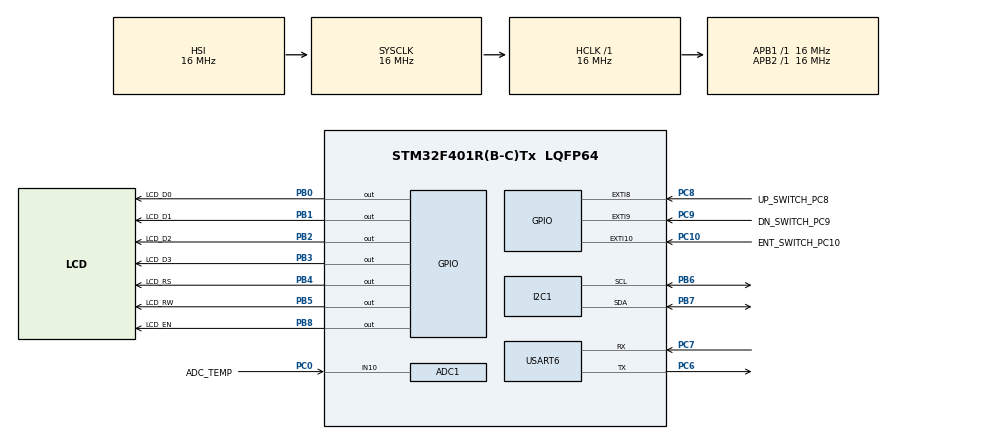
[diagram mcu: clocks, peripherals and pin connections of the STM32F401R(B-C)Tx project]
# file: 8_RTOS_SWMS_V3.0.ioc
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ADC1.Channel-0\#ChannelRegularConversion=ADC_CHANNEL_10
ADC1.NbrOfConversionFlag=1
ADC1.Rank-0\#ChannelRegularConversion=1
ADC1.SamplingTime-0\#ChannelRegularConversion=ADC_SAMPLETIME_3CYCLES
ADC1.master=1
FREERTOS.BinarySemaphores01=myBinarySem01,Dynamic,NULL,Available
FREERTOS.Events01=myEvent01,Dynamic,NULL
FREERTOS.Mutexes01=myMutex01,Dynamic,NULL,Available
FREERTOS.Queues01=myQueue01,16,uint16_t,0,Dynamic,NULL,NULL
FREERTOS.Tasks01=Task_1,24,256,StartTask_RTC_1,Default,NULL,Dynamic,NULL,NULL;Task_2,24,256,StartTask_ADC_2,Default,NULL,Dynamic,NULL,NULL;Task_3,24,256,StartTask_WIFI_3,Default,NULL,Dynamic,NULL,NULL;Task_4,24,256,StartTask_EEPROM_4,Default,NULL,Dynamic,NULL,NULL;Task_5,24,256,StartTask_DATE_TIME_CONFIGURE5,Default,NULL,Dynamic,NULL,NULL
FREERTOS.configUSE_NEWLIB_REENTRANT=1
Mcu.Family=STM32F4
Mcu.Name=STM32F401R(B-C)Tx
Mcu.Package=LQFP64
NVIC.ADC_IRQn=true\:5\:0\:false\:false\:true\:true\:true\:true\:true
NVIC.EXTI15_10_IRQn=true\:5\:0\:false\:false\:true\:true\:true\:true\:true
NVIC.EXTI9_5_IRQn=true\:5\:0\:false\:false\:true\:true\:true\:true\:true
NVIC.PriorityGroup=NVIC_PRIORITYGROUP_4
NVIC.TIM1_UP_TIM10_IRQn=true\:15\:0\:false\:false\:true\:false\:false\:true\:true
NVIC.TimeBase=TIM1_UP_TIM10_IRQn
NVIC.TimeBaseIP=TIM1
PA13.Mode=Serial_Wire
PA13.Signal=SYS_JTMS-SWDIO
PA14.Mode=Serial_Wire
PA14.Signal=SYS_JTCK-SWCLK
PB0.GPIO_Label=LCD_D0
PB0.Signal=GPIO_Output
PB1.GPIO_Label=LCD_D1
PB1.Signal=GPIO_Output
PB2.GPIO_Label=LCD_D2
PB2.Signal=GPIO_Output
PB3.GPIO_Label=LCD_D3
PB3.Signal=GPIO_Output
PB4.GPIO_Label=LCD_RS
PB4.Signal=GPIO_Output
PB5.GPIO_Label=LCD_RW
PB5.Signal=GPIO_Output
PB6.Mode=I2C
PB6.Signal=I2C1_SCL
PB7.Mode=I2C
PB7.Signal=I2C1_SDA
PB8.GPIO_Label=LCD_EN
PB8.Signal=GPIO_Output
PC0.GPIO_Label=ADC_TEMP
PC0.Signal=ADCx_IN10
PC10.GPIO_Label=ENT_SWITCH_PC10
PC10.GPIO_ModeDefaultEXTI=GPIO_MODE_IT_FALLING
PC10.GPIO_PuPd=GPIO_PULLUP
PC10.Signal=GPXTI10
PC6.Mode=Asynchronous
PC6.Signal=USART6_TX
PC7.Mode=Asynchronous
PC7.Signal=USART6_RX
PC8.GPIO_Label=UP_SWITCH_PC8
PC8.GPIO_ModeDefaultEXTI=GPIO_MODE_IT_FALLING
PC8.GPIO_PuPd=GPIO_PULLUP
PC8.Signal=GPXTI8
PC9.GPIO_Label=DN_SWITCH_PC9
PC9.GPIO_ModeDefaultEXTI=GPIO_MODE_IT_FALLING
PC9.GPIO_PuPd=GPIO_PULLUP
PC9.Signal=GPXTI9
ProjectManager.HeapSize=0x200
ProjectManager.StackSize=0x400
ProjectManager.TargetToolchain=STM32CubeIDE
RCC.AHBFreq_Value=16000000
RCC.APB1Freq_Value=16000000
RCC.APB2Freq_Value=16000000
RCC.CortexFreq_Value=16000000
RCC.HSE_VALUE=25000000
RCC.HSI_VALUE=16000000
RCC.LSE_VALUE=32768
RCC.SYSCLKFreq_VALUE=16000000
RCC.VCOOutputFreq_Value=192000000
SH.ADCx_IN10.0=ADC1_IN10,IN10
USART6.VirtualMode=VM_ASYNC
VP_FREERTOS_VS_CMSIS_V2.Mode=CMSIS_V2
VP_SYS_VS_tim1.Mode=TIM1
board=custom

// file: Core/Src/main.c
/* USER CODE BEGIN Header */
/**
  ******************************************************************************
  * @file           : main.c
  * @brief          : Main program body
  ******************************************************************************
  * @attention
  *
  * Copyright (c) 2026 STMicroelectronics.
  * All rights reserved.
  *
  * This software is licensed under terms that can be found in the LICENSE file
  * in the root directory of this software component.
  * If no LICENSE file comes with this software, it is provided AS-IS.
  *
  ******************************************************************************
  */
/* USER CODE END Header */
#include "main.h"
#include "cmsis_os.h"
#include <stdio.h>
#include "LCD.h"
#include "WIFI.h"
#include "RTC.h"
#include "EEPROM.h"
#include "SET_TIME_AND_DATE.h"

/* USER CODE BEGIN Includes */
#define ADC_DONE_FLAG       (1U << 0)

/* USER CODE END Includes */

ADC_HandleTypeDef hadc1;

I2C_HandleTypeDef hi2c1;

UART_HandleTypeDef huart6;

/* Definitions for Task_1 */
osThreadId_t Task_1Handle;
const osThreadAttr_t Task_1_attributes = {
  .name = "Task_1",
  .stack_size = 256 * 4,
  .priority = (osPriority_t) osPriorityNormal,
};
/* Definitions for Task_2 */
osThreadId_t Task_2Handle;
const osThreadAttr_t Task_2_attributes = {
  .name = "Task_2",
  .stack_size = 256 * 4,
  .priority = (osPriority_t) osPriorityNormal,
};
/* Definitions for Task_3 */
osThreadId_t Task_3Handle;
const osThreadAttr_t Task_3_attributes = {
  .name = "Task_3",
  .stack_size = 256 * 4,
  .priority = (osPriority_t) osPriorityNormal,
};
/* Definitions for Task_4 */
osThreadId_t Task_4Handle;
const osThreadAttr_t Task_4_attributes = {
  .name = "Task_4",
  .stack_size = 256 * 4,
  .priority = (osPriority_t) osPriorityNormal,
};
/* Definitions for Task_5 */
osThreadId_t Task_5Handle;
const osThreadAttr_t Task_5_attributes = {
  .name = "Task_5",
  .stack_size = 256 * 4,
  .priority = (osPriority_t) osPriorityNormal,
};
/* Definitions for myQueue01 */
osMessageQueueId_t myQueue01Handle;
const osMessageQueueAttr_t myQueue01_attributes = {
  .name = "myQueue01"
};
/* Definitions for myMutex01 */
osMutexId_t myMutex01Handle;
const osMutexAttr_t myMutex01_attributes = {
  .name = "myMutex01"
};
/* Definitions for myBinarySem01 */
osSemaphoreId_t myBinarySem01Handle;
const osSemaphoreAttr_t myBinarySem01_attributes = {
  .name = "myBinarySem01"
};
/* Definitions for myEvent01 */
osEventFlagsId_t myEvent01Handle;
const osEventFlagsAttr_t myEvent01_attributes = {
  .name = "myEvent01"
};
/* USER CODE BEGIN PV */

volatile int TEMP_value=0;
volatile int TEMP=0;

volatile int ERROR_WIFI;
volatile int ret=0;

/* USER CODE END PV */

void SystemClock_Config(void);
static void MX_GPIO_Init(void);
static void MX_ADC1_Init(void);
static void MX_I2C1_Init(void);
static void MX_USART6_UART_Init(void);
void StartTask_RTC_1(void *argument);
void StartTask_ADC_2(void *argument);
void StartTask_WIFI_3(void *argument);
void StartTask_EEPROM_4(void *argument);
void StartTask_DATE_TIME_CONFIGURE5(void *argument);

int main(void)
{

  /* MCU Configuration--------------------------------------------------------*/

  /* Reset of all peripherals, Initializes the Flash interface and the Systick. */
  HAL_Init();

  /* Configure the system clock */
  SystemClock_Config();

  /* Initialize all configured peripherals */
  MX_GPIO_Init();
  MX_ADC1_Init();
  MX_I2C1_Init();
  MX_USART6_UART_Init();
  /* USER CODE BEGIN 2 */

  KM_LCD_INIT();
   KM_LCD_WRITE_CMD(0x01);               //CLEAR LCD SCREEN
         KM_LCD_WRITE_STR("WELCOME TO");
  			 KM_LCD_WRITE_CMD(0xC0);               //PRINTF SECOND LINE
         KM_LCD_WRITE_STR(" S W M W V3.O ");
  	   	 HAL_Delay(1000);

 /*  RTC_SetTimeDate(4, 1, 00,
                   5,
                   14, 8, 26);*/

/********************** DEVICE CHECKING *********************************************************/
  	   		   //IS WIFI FOUND

  	   							 ret=IS_WIFI_FOUND();
  	   		           if(ret==WIFI_NOT_FOUND)//-1 == -1  //CONDITON TRUE
  	   					  {
  	   						 KM_LCD_WRITE_CMD(0x01);               //CLEAR LCD SCREEN
  	   		                 KM_LCD_WRITE_STR("WIFI NOT FOUND");
  	   						 KM_LCD_WRITE_CMD(0xC0);              //PRINT SECOND LINE
  	   		                 KM_LCD_WRITE_STR("RESET BOARD");
  	   						 ERROR_WIFI=1;
  	   									 // while(1);
  	   						  }
  	   					 KM_LCD_WRITE_CMD(0x01);               //CLEAR LCD SCREEN
  	   					 KM_LCD_WRITE_STR("AT OK");
  	   					 KM_LCD_WRITE_CMD(0xC0);               //PRINTF SECOND LINE
  	   		            KM_LCD_WRITE_STR("WIFI FOUND");
  	   			   	    HAL_Delay(1000);

/************************* IS WIFI CONNECTED ************************************************************/

  	   					     ret=IS_WIFI_CONNECTED();
  	   						   if(ret==WIFI_CONNECTED)//0 == 0  //CONDITON TRUE
  	   				       KM_LCD_WRITE_CMD(0x01);               //CLEAR LCD SCREEN
  	   				     	 KM_LCD_WRITE_STR("WIFI CONNECTED");
  	   							 	HAL_Delay(2000);
  	   								 KM_LCD_WRITE_CMD(0x01);               //CLEAR LCD SCREEN

  	   			 KM_LCD_WRITE_CMD(0x8E);
  	   			 KM_LCD_WRITE_DATA(0xdf);       // Print custom degree symbol
  	   			KM_LCD_WRITE_DATA('C');     // Print C

/**********************************************************************************************************/

  /* USER CODE END 2 */

  /* Init scheduler */
  osKernelInitialize();
  /* Create the mutex(es) */
  /* creation of myMutex01 */
  myMutex01Handle = osMutexNew(&myMutex01_attributes);

  /* Create the semaphores(s) */
  /* creation of myBinarySem01 */
  myBinarySem01Handle = osSemaphoreNew(1, 0, &myBinarySem01_attributes);

  /* Create the queue(s) */
  /* creation of myQueue01 */
  myQueue01Handle = osMessageQueueNew (16, sizeof(uint16_t), &myQueue01_attributes);

  /* Create the thread(s) */
  /* creation of Task_1 */
  Task_1Handle = osThreadNew(StartTask_RTC_1, NULL, &Task_1_attributes);

  /* creation of Task_2 */
  Task_2Handle = osThreadNew(StartTask_ADC_2, NULL, &Task_2_attributes);

  /* creation of Task_3 */
  Task_3Handle = osThreadNew(StartTask_WIFI_3, NULL, &Task_3_attributes);

  /* creation of Task_4 */
  Task_4Handle = osThreadNew(StartTask_EEPROM_4, NULL, &Task_4_attributes);

  /* creation of Task_5 */
  Task_5Handle = osThreadNew(StartTask_DATE_TIME_CONFIGURE5, NULL, &Task_5_attributes);

  /* creation of myEvent01 */
  myEvent01Handle = osEventFlagsNew(&myEvent01_attributes);

  /* Start scheduler */
  osKernelStart();

  /* We should never get here as control is now taken by the scheduler */

  /* Infinite loop */
  while (1)
  {

  }
}

void SystemClock_Config(void)
{
  RCC_OscInitTypeDef RCC_OscInitStruct = {0};
  RCC_ClkInitTypeDef RCC_ClkInitStruct = {0};

  /** Configure the main internal regulator output voltage
  */
  __HAL_RCC_PWR_CLK_ENABLE();
  __HAL_PWR_VOLTAGESCALING_CONFIG(PWR_REGULATOR_VOLTAGE_SCALE2);

  /** Initializes the RCC Oscillators according to the specified parameters
  * in the RCC_OscInitTypeDef structure.
  */
  RCC_OscInitStruct.OscillatorType = RCC_OSCILLATORTYPE_HSI;
  RCC_OscInitStruct.HSIState = RCC_HSI_ON;
  RCC_OscInitStruct.HSICalibrationValue = RCC_HSICALIBRATION_DEFAULT;
  RCC_OscInitStruct.PLL.PLLState = RCC_PLL_NONE;
  if (HAL_RCC_OscConfig(&RCC_OscInitStruct) != HAL_OK)
  {
    Error_Handler();
  }

  /** Initializes the CPU, AHB and APB buses clocks
  */
  RCC_ClkInitStruct.ClockType = RCC_CLOCKTYPE_HCLK|RCC_CLOCKTYPE_SYSCLK
                              |RCC_CLOCKTYPE_PCLK1|RCC_CLOCKTYPE_PCLK2;
  RCC_ClkInitStruct.SYSCLKSource = RCC_SYSCLKSOURCE_HSI;
  RCC_ClkInitStruct.AHBCLKDivider = RCC_SYSCLK_DIV1;
  RCC_ClkInitStruct.APB1CLKDivider = RCC_HCLK_DIV1;
  RCC_ClkInitStruct.APB2CLKDivider = RCC_HCLK_DIV1;

  if (HAL_RCC_ClockConfig(&RCC_ClkInitStruct, FLASH_LATENCY_0) != HAL_OK)
  {
    Error_Handler();
  }
}

static void MX_ADC1_Init(void)
{

  ADC_ChannelConfTypeDef sConfig = {0};

  /** Configure the global features of the ADC (Clock, Resolution, Data Alignment and number of conversion)
  */
  hadc1.Instance = ADC1;
  hadc1.Init.ClockPrescaler = ADC_CLOCK_SYNC_PCLK_DIV2;
  hadc1.Init.Resolution = ADC_RESOLUTION_12B;
  hadc1.Init.ScanConvMode = DISABLE;
  hadc1.Init.ContinuousConvMode = DISABLE;
  hadc1.Init.DiscontinuousConvMode = DISABLE;
  hadc1.Init.ExternalTrigConvEdge = ADC_EXTERNALTRIGCONVEDGE_NONE;
  hadc1.Init.ExternalTrigConv = ADC_SOFTWARE_START;
  hadc1.Init.DataAlign = ADC_DATAALIGN_RIGHT;
  hadc1.Init.NbrOfConversion = 1;
  hadc1.Init.DMAContinuousRequests = DISABLE;
  hadc1.Init.EOCSelection = ADC_EOC_SINGLE_CONV;
  if (HAL_ADC_Init(&hadc1) != HAL_OK)
  {
    Error_Handler();
  }

  /** Configure for the selected ADC regular channel its corresponding rank in the sequencer and its sample time.
  */
  sConfig.Channel = ADC_CHANNEL_10;
  sConfig.Rank = 1;
  sConfig.SamplingTime = ADC_SAMPLETIME_3CYCLES;
  if (HAL_ADC_ConfigChannel(&hadc1, &sConfig) != HAL_OK)
  {
    Error_Handler();
  }

}

static void MX_I2C1_Init(void)
{

  hi2c1.Instance = I2C1;
  hi2c1.Init.ClockSpeed = 100000;
  hi2c1.Init.DutyCycle = I2C_DUTYCYCLE_2;
  hi2c1.Init.OwnAddress1 = 0;
  hi2c1.Init.AddressingMode = I2C_ADDRESSINGMODE_7BIT;
  hi2c1.Init.DualAddressMode = I2C_DUALADDRESS_DISABLE;
  hi2c1.Init.OwnAddress2 = 0;
  hi2c1.Init.GeneralCallMode = I2C_GENERALCALL_DISABLE;
  hi2c1.Init.NoStretchMode = I2C_NOSTRETCH_DISABLE;
  if (HAL_I2C_Init(&hi2c1) != HAL_OK)
  {
    Error_Handler();
  }

}

static void MX_USART6_UART_Init(void)
{

  huart6.Instance = USART6;
  huart6.Init.BaudRate = 115200;
  huart6.Init.WordLength = UART_WORDLENGTH_8B;
  huart6.Init.StopBits = UART_STOPBITS_1;
  huart6.Init.Parity = UART_PARITY_NONE;
  huart6.Init.Mode = UART_MODE_TX_RX;
  huart6.Init.HwFlowCtl = UART_HWCONTROL_NONE;
  huart6.Init.OverSampling = UART_OVERSAMPLING_16;
  if (HAL_UART_Init(&huart6) != HAL_OK)
  {
    Error_Handler();
  }

}

static void MX_GPIO_Init(void)
{
  GPIO_InitTypeDef GPIO_InitStruct = {0};

  /* GPIO Ports Clock Enable */
  __HAL_RCC_GPIOC_CLK_ENABLE();
  __HAL_RCC_GPIOB_CLK_ENABLE();
  __HAL_RCC_GPIOA_CLK_ENABLE();

  /*Configure GPIO pin Output Level */
  HAL_GPIO_WritePin(GPIOB, LCD_D0_Pin|LCD_D1_Pin|LCD_D2_Pin|LCD_D3_Pin
                          |LCD_RS_Pin|LCD_RW_Pin|LCD_EN_Pin, GPIO_PIN_RESET);

  /*Configure GPIO pins : LCD_D0_Pin LCD_D1_Pin LCD_D2_Pin LCD_D3_Pin
                           LCD_RS_Pin LCD_RW_Pin LCD_EN_Pin */
  GPIO_InitStruct.Pin = LCD_D0_Pin|LCD_D1_Pin|LCD_D2_Pin|LCD_D3_Pin
                          |LCD_RS_Pin|LCD_RW_Pin|LCD_EN_Pin;
  GPIO_InitStruct.Mode = GPIO_MODE_OUTPUT_PP;
  GPIO_InitStruct.Pull = GPIO_NOPULL;
  GPIO_InitStruct.Speed = GPIO_SPEED_FREQ_LOW;
  HAL_GPIO_Init(GPIOB, &GPIO_InitStruct);

  /*Configure GPIO pins : UP_SWITCH_PC8_Pin DN_SWITCH_PC9_Pin ENT_SWITCH_PC10_Pin */
  GPIO_InitStruct.Pin = UP_SWITCH_PC8_Pin|DN_SWITCH_PC9_Pin|ENT_SWITCH_PC10_Pin;
  GPIO_InitStruct.Mode = GPIO_MODE_IT_FALLING;
  GPIO_InitStruct.Pull = GPIO_PULLUP;
  HAL_GPIO_Init(GPIOC, &GPIO_InitStruct);

  /* EXTI interrupt init*/
  HAL_NVIC_SetPriority(EXTI9_5_IRQn, 5, 0);
  HAL_NVIC_EnableIRQ(EXTI9_5_IRQn);

  HAL_NVIC_SetPriority(EXTI15_10_IRQn, 5, 0);
  HAL_NVIC_EnableIRQ(EXTI15_10_IRQn);

}

/* USER CODE BEGIN 4 */
void HAL_ADC_ConvCpltCallback (ADC_HandleTypeDef *hadc)
{
	  if (hadc->Instance == ADC1)
	    {
	        osSemaphoreRelease(myBinarySem01Handle);
	    }
}
void HAL_GPIO_EXTI_Callback(uint16_t GPIO_Pin)
{

	if(GPIO_Pin==UP_SWITCH_PC8_Pin)
	{
		osThreadFlagsSet(Task_5Handle,UP_BUTTON_FLAG);
	}

	else if(GPIO_Pin==DN_SWITCH_PC9_Pin)
	{
		osThreadFlagsSet(Task_5Handle, DOWN_BUTTON_FLAG);
	}

	else if(GPIO_Pin==ENT_SWITCH_PC10_Pin)
	{
		osThreadFlagsSet(Task_5Handle,ENTER_BUTTON_FLAG);
	}

}

/* USER CODE END 4 */

void StartTask_RTC_1(void *argument)
{
  /* USER CODE BEGIN 5 */
    RTC_Data_t rtc;
  /* Infinite loop */
  for(;;)
  {
	  if(RTC_Read(&rtc) == HAL_OK)
	         {
	             osMutexAcquire(myMutex01Handle, osWaitForever);

	             char time[17];
	             char date[17];

	             sprintf(time,
	                     "%02d:%02d:%02d",
	                     rtc.hours,
	                     rtc.minutes,
	                     rtc.seconds);

	             sprintf(date,
	                     "%02d-%02d-20%02d",
	                     rtc.date,
	                     rtc.month,
	                     rtc.year);

	             KM_LCD_WRITE_CMD(0x80);
	             KM_LCD_WRITE_STR(time);

	             KM_LCD_WRITE_CMD(0xC0);
	             KM_LCD_WRITE_STR(date);

	             osMutexRelease(myMutex01Handle);
	         }
    osDelay(1000);
  }
  /* USER CODE END 5 */
}

void StartTask_ADC_2(void *argument)
{
  /* USER CODE BEGIN StartTask_ADC_2 */
	volatile int temp=0;
  /* Infinite loop */
  for(;;)
  {
	  HAL_ADC_Start_IT(&hadc1); //SWATART BIT ENABLE

	//  osThreadFlagsWait(ADC_DONE_FLAG, osFlagsWaitAny,osWaitForever);
	  osSemaphoreAcquire(myBinarySem01Handle, osWaitForever);

		temp=HAL_ADC_GetValue(&hadc1);
         TEMP_value=(temp*0.08);

	  			 osMutexAcquire(myMutex01Handle, osWaitForever);//LOCK using MUTEX
	  			 KM_LCD_WRITE_CMD(0x8C);
	  			 KM_ITOA_STR(TEMP_value);
	  			 osMutexRelease(myMutex01Handle);      //UNCLOCK using MUTEX

	  			 osMessageQueuePut(myQueue01Handle, &TEMP_value, 0, 200);

    osDelay(5000);//every 5 seconds read temp value from ADC
  }
  /* USER CODE END StartTask_ADC_2 */
}

void StartTask_WIFI_3(void *argument)
{
  /* USER CODE BEGIN StartTask_WIFI_3 */
  /* Infinite loop */
  for(;;)
  {
	  osMessageQueueGet(myQueue01Handle, &TEMP, NULL, osWaitForever);

	//  osSemaphoreAcquire(myBinarySem01Handle, osWaitForever);
	      KM_WIFI_OPERATION();
	     ret=KM_WIFI_PUSH_SERVER();
	//  osSemaphoreRelease(myBinarySem01Handle);

		if(ret==ERROR)
		{
		    osMutexAcquire(myMutex01Handle, osWaitForever);//LOCK using MUTEX
			  KM_LCD_WRITE_CMD(0xCB);          //CLEAR LCD SCREEN
	          KM_LCD_WRITE_STR("ERROR");
	   	   osMutexRelease(myMutex01Handle);      //UNCLOCK using MUTEX

	 		 ERROR_WIFI=1;
		}

		else
			{
		      osMutexAcquire(myMutex01Handle, osWaitForever);//LOCK using MUTEX
			      KM_LCD_WRITE_CMD(0xC9);          //CLEAR LCD SCREEN
	              KM_LCD_WRITE_STR("   OK    ");
	    	  osMutexRelease(myMutex01Handle);      //UNCLOCK using MUTEX

			}

    osDelay(1);
  }
  /* USER CODE END StartTask_WIFI_3 */
}

void StartTask_EEPROM_4(void *argument)
{
  /* USER CODE BEGIN StartTask_EEPROM_4 */
  /* Infinite loop */
  for(;;)
  {
	if(ERROR_WIFI==1) //ANY ERROR CASE WIFI
	   {
		 osMutexAcquire(myMutex01Handle, osWaitForever);//LOCK using MUTEX
	         KM_LCD_WRITE_CMD(0xCA);               //CLEAR LCD SCREEN
             KM_LCD_WRITE_STR("EP");
		 osMutexRelease(myMutex01Handle);      //UNCLOCK using MUTEX

    	  EEPROM_Write_RTC_Temperature();
	      ERROR_WIFI=0;
	  }
    osDelay(1);
  }
  /* USER CODE END StartTask_EEPROM_4 */
}

void StartTask_DATE_TIME_CONFIGURE5(void *argument)
{
  /* USER CODE BEGIN StartTask_DATE_TIME_CONFIGURE5 */
    RTC_Data_t rtc;
    uint32_t flags;

  /* Infinite loop */
  for(;;)
  {

	  flags = osThreadFlagsWait(
	                    UP_BUTTON_FLAG |
	                    DOWN_BUTTON_FLAG |
	                    ENTER_BUTTON_FLAG,
	                    osFlagsWaitAny,
	                    osWaitForever);

            if (flags & ENTER_BUTTON_FLAG)
            {
            	 osThreadSuspend(Task_1Handle);
            			       osThreadSuspend(Task_2Handle);
            			       osThreadSuspend(Task_3Handle);
            			       osThreadSuspend(Task_4Handle);

            				 osMutexAcquire(myMutex01Handle, osWaitForever);//LOCK using MUTEX
            			       RTC_CONFIG();
            				osMutexRelease(myMutex01Handle);      //UNCLOCK using MUTEX

            				            osThreadResume(Task_1Handle);
            				            osThreadResume(Task_2Handle);
            				            osThreadResume(Task_3Handle);
            				            osThreadResume(Task_4Handle);
            }
            osDelay(1);

  }
  /* USER CODE END StartTask_DATE_TIME_CONFIGURE5 */
}

void HAL_TIM_PeriodElapsedCallback(TIM_HandleTypeDef *htim)
{
  if (htim->Instance == TIM1)
  {
    HAL_IncTick();
  }
}

void Error_Handler(void)
{
  __disable_irq();
  while (1)
  {
  }
}
